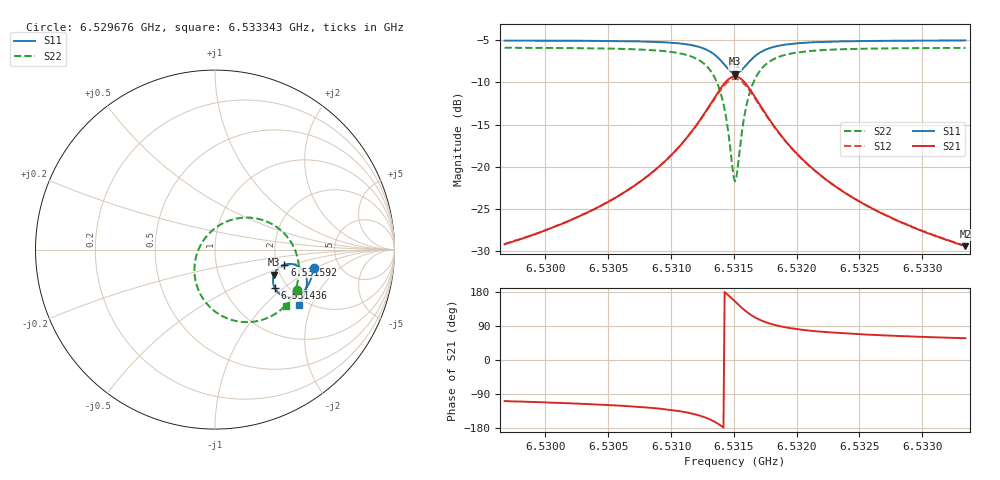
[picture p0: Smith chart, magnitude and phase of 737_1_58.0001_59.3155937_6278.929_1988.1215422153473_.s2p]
#  HZ  S  RI  R  50.00
! Rohde & Schwarz Vector Network Analyzer
! Rohde-Schwarz,ZNB20-2Port,1311601062101988,3.16
! Created: UTC 3/21/2024, 1:23:19 AM
! freq[Hz]  re:S11  im:S11  re:S21  im:S21  re:S12  im:S12  re:S22  im:S22
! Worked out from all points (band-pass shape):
!   401 points, 6.529676 GHz to 6.533343 GHz, reference 50 ohm
!   highest |S21| = -9.29 dB at 6.531509 GHz (marker M1); lowest = -29.4 dB at 6.533343 GHz (marker M2)
!   |S21| within 3 dB of the highest: 6.531326 GHz to 6.531692 GHz (366.6 kHz wide, 0.00561 % of centre)
!   lowest |S11| = -8.9 dB at 6.531509 GHz (marker M3), VSWR 2.11, Z = 92.8 - j29.8 ohm
!   |S11| at or under -10 dB: nowhere
!   |S22| runs from -21.7 to -5.9 dB; largest |S21 - S12| = 0.015
!   S11 on the Smith chart (normalised r, x): 6.529676 GHz: 3.22, -0.98; 6.531436 GHz: 1.72, -0.87; 6.531592 GHz: 2.20, -0.44; 6.533343 GHz: 1.81, -1.64
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6.5296757e9  0.5503 -0.1048  -0.0109 -0.0329  -0.0117 -0.0327  0.4567 -0.2229
6.5302899e9  0.5363 -0.1568  -0.0225 -0.0467  -0.0234 -0.046  0.4196 -0.2809
6.5306383e9  0.5223 -0.1905  -0.037 -0.0609  -0.0388 -0.0599  0.3812 -0.3233
6.5309042e9  0.5031 -0.2207  -0.062 -0.0786  -0.0641 -0.0768  0.3255 -0.3642
6.531115e9  0.4723 -0.2489  -0.1077 -0.0976  -0.1106 -0.0937  0.2341 -0.3986
6.5312801e9  0.4189 -0.2651  -0.1909 -0.0989  -0.1926 -0.0903  0.0835 -0.3889
6.5313717e9  0.3681 -0.2515  -0.2686 -0.0584  -0.2658 -0.0467  -0.0425 -0.305
6.5314084e9  0.3461 -0.2331  -0.3003 -0.0208  -0.2939 -0.00897  -0.0878 -0.2356
6.5314359e9  0.3326 -0.2129  -0.3184 0.0179  -0.309 0.0287  -0.1096 -0.1678
6.5314909e9  0.3241 -0.1589  -0.3217 0.1149  -0.3081 0.1201  -0.0955 -0.00838
6.5315093e9  0.3288 -0.1399  -0.3098 0.1478  -0.2961 0.1504  -0.0702 0.0425
6.5315276e9  0.3376 -0.1224  -0.2918 0.1775  -0.2784 0.1778  -0.0351 0.0877
6.5315643e9  0.3638 -0.0956  -0.2423 0.2223  -0.2314 0.2191  0.0536 0.1515
6.5315918e9  0.3871 -0.084  -0.2001 0.2408  -0.1917 0.236  0.126 0.1741
6.5316193e9  0.4102 -0.0797  -0.1596 0.2474  -0.1533 0.2425  0.1944 0.1781
6.531656e9  0.4372 -0.0822  -0.1128 0.2431  -0.1087 0.2387  0.2717 0.1626
6.5317476e9  0.4813 -0.1065  -0.0379 0.2058  -0.0363 0.2033  0.3919 0.0834
6.5318852e9  0.5063 -0.1463  0.00552 0.1502  0.00667 0.1493  0.4548 -0.0266
6.5321235e9  0.512 -0.1938  0.0224 0.0954  0.0234 0.095  0.4672 -0.138
6.5324077e9  0.5051 -0.2304  0.0235 0.0642  0.0247 0.0638  0.4536 -0.2078
6.5327378e9  0.4935 -0.2622  0.0217 0.0456  0.0226 0.045  0.4338 -0.2566
6.5333429e9  0.4688 -0.309  0.0181 0.0285  0.0188 0.0282  0.3983 -0.314
